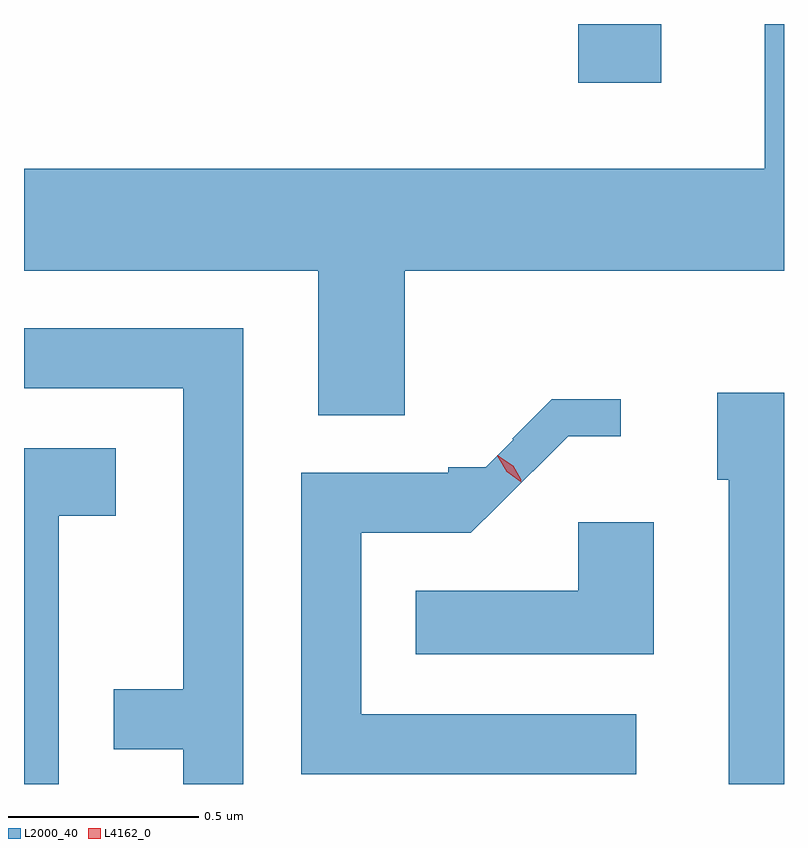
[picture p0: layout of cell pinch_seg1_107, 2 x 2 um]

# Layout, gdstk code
import gdstk
lib = gdstk.Library(unit=1e-6, precision=1e-09)
def R(c, l, rs):  # rectangles x0, y0, x1, y1
    for r in rs: c.add(gdstk.rectangle(r[:2], r[2:], *l))
def P(c, l, *ps):  # polygons
    for p in ps: c.add(gdstk.Polygon(p, *l))
L2000_40 = (2000, 40)
L4162_0 = (4162, 0)

pinch_seg1_107 = lib.new_cell('pinch_seg1_107')
R(pinch_seg1_107, L2000_40, [(212.706,891.191,212.924,891.345)])
P(pinch_seg1_107, L2000_40, [(212.249,890.696),(213.247,890.696),(213.247,891.345),(213.196,891.345),(213.196,890.964),(211.247,890.964),(211.247,890.696),(212.021,890.696),(212.021,890.316),(212.249,890.316)],
  [(211.824,890.544),(211.247,890.544),(211.247,890.386),(211.666,890.386),(211.666,889.594),(211.483,889.594),(211.483,889.436),(211.666,889.436),(211.666,889.345),(211.824,889.345)],
  [(213.247,890.374),(213.071,890.374),(213.071,890.146),(213.101,890.146),(213.101,889.345),(213.247,889.345)],
  [(212.858,889.529),(212.134,889.529),(212.134,890.006),(212.423,890.006),(212.492,890.075),(212.493,890.074),(212.679,890.26),(212.818,890.26),(212.818,890.358),(212.636,890.358),(212.532,890.254),(212.535,890.251),(212.462,890.178),(212.363,890.178),(212.363,890.164),(211.976,890.164),(211.976,889.371),(212.858,889.371)],
  [(211.339,890.051),(211.489,890.051),(211.489,890.229),(211.247,890.229),(211.247,889.345),(211.339,889.345)],
  [(212.904,890.034),(212.706,890.034),(212.706,889.854),(212.278,889.854),(212.278,889.686),(212.904,889.686)])
P(pinch_seg1_107, L4162_0, [(212.555,890.139),(212.517,890.167),(212.493,890.209),(212.493,890.21),(212.494,890.21),(212.532,890.181),(212.556,890.14),(212.556,890.139)],
  [(212.554,890.145),(212.519,890.169),(212.498,890.206),(212.498,890.206),(212.499,890.206),(212.534,890.183),(212.555,890.146),(212.555,890.145)])

lib.write_gds('pinch_seg1_107.gds')
